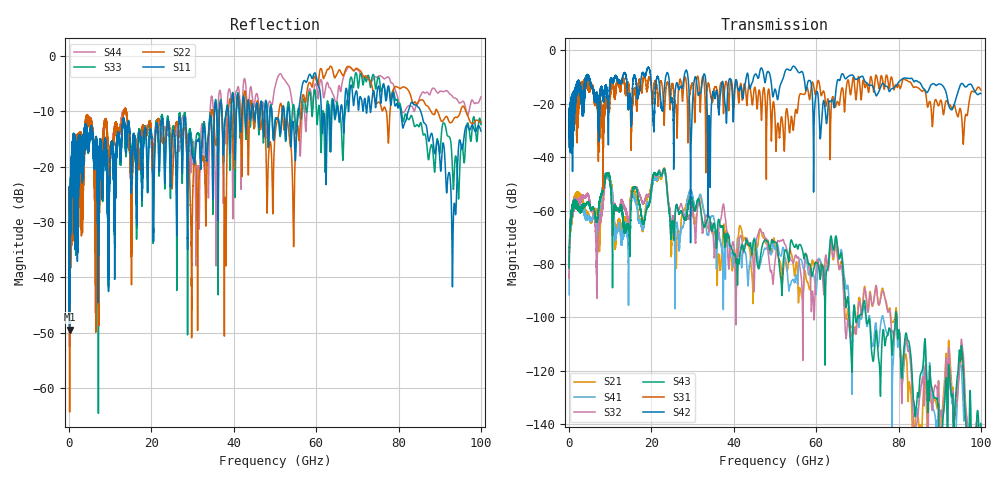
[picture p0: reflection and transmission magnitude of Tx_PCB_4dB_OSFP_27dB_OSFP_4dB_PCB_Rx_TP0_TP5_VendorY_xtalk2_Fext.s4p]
! Info: Touchstone file created by Circ.  Input file=Tx_PCB_4dB_OSFP_27dB_OSFP_4dB_PCB_Rx_TP0_TP5_VendorY.circ
# Hz S RI R 50
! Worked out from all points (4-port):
!   10000 points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, 10 MHz to 100 GHz, reference 50 ohm
!   strongest paths, dB at 10 MHz, 25.01 GHz, 50.01 GHz, 75.01 GHz, 100 GHz:
!     S42: -23.5, -18.6, -14.5, -16.2, -16.2
!     S31: -23.5, -12.6, -25.7, -12.1, -14.9
!     S43: -81.5, -64.8, -71.9, -113.1, -139.7
!     S32: -83.9, -65.9, -79.0, -94.2, -140.5
!     S41: -91.6, -66.2, -74.5, -111.2, -140.7
!     S21: -81.2, -69.2, -72.9, -94.5, -143.0
!   lowest |S11| = -49.4 dB at 130 MHz (marker M1), VSWR 1.01, Z = 49.8 - j0.256 ohm
!   |S11| at or under -10 dB: start of sweep to 35.31 GHz; 49.23 GHz to 51.8 GHz (2.568 GHz wide, 5.08 % of centre); 85.37 GHz to end of sweep (the widest 3 of 26)
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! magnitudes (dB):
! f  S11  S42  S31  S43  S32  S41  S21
! 10 MHz  -23.7  -23.5  -23.5  -81.5  -83.9  -91.6  -81.2
! 130 MHz  -49.4  -25.5  -25.8  -70.9  -69.4  -72.4  -72.4
! 23.08 GHz  -17.3  -15.4  -26.6  -44.3  -44.4  -45.0  -44.2
! 25.7 GHz  -15.5  -16.8  -20.1  -62.8  -63.7  -83.7  -69.0
! 31.85 GHz  -18.5  -16.0  -23.1  -58.2  -57.2  -53.9  -54.8
! 36.34 GHz  -15.7  -24.1  -19.6  -63.4  -67.1  -68.2  -76.8
! 100 GHz  -13.6  -16.2  -14.9  -139.7  -140.5  -140.7  -143.0
